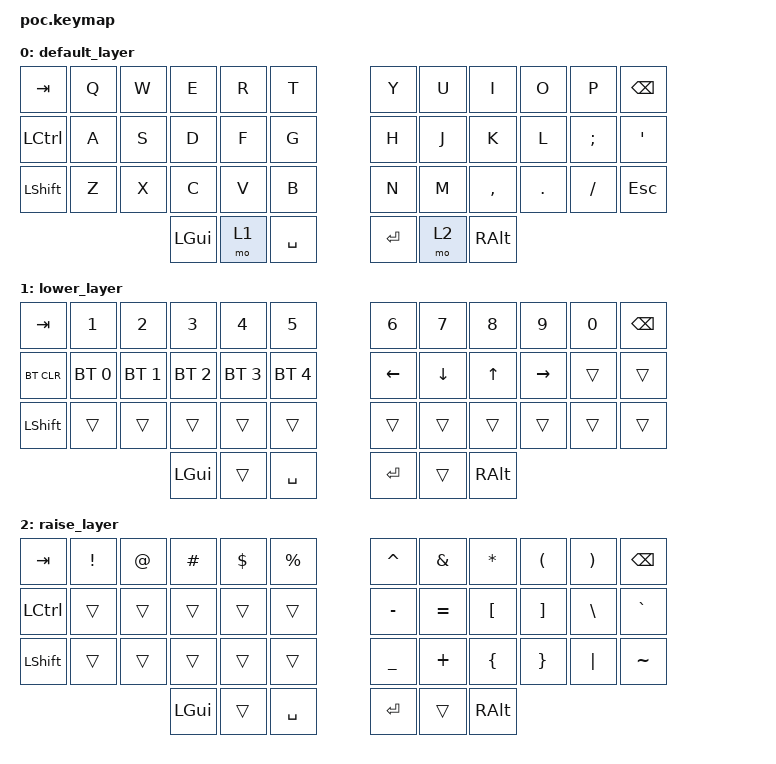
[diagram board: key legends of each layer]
/*
 * Copyright (c) 2020 The ZMK Contributors
 *
 * SPDX-License-Identifier: MIT
 */

#include <behaviors.dtsi>
#include <dt-bindings/zmk/keys.h>
#include <dt-bindings/zmk/bt.h>

/ {
        keymap {
                compatible = "zmk,keymap";

                default_layer {
// -----------------------------------------------------------------------------------------
// |  TAB |  Q  |  W  |  E  |  R   |  T   |    |  Y  |  U   |  I  |  O  |  P  | \ |
// | ESC  |  A  |  S  |  D  |  F   |  G   |    |  H  |  J   |  K  |  L  |  ;  |  '   |
// | LGUI |  Z  |  X  |  C  |  V   |  B   |    |  N  |  M   |  ,  |  .  |  /  | LGUI  |
//                    | LWR | SHFT | BSPC |    | ENT | SPC  | RSE |
// Special:
// Z is LALT and X is LCTRL
// ; is LALT and L is LCTRL
// W+E is <
// I+O is >
// R+T is [
// U+I is ]
// D+F is (
// J+K is )
// C+V is {
// M+COMMA is }

// Tapping Term is 130ms
// Prefer tap action in Tap-Hold tap dances
// Permissive hold is ON
                        bindings = <
   &kp TAB   &kp Q &kp W &kp E &kp R &kp T   &kp Y &kp U  &kp I     &kp O   &kp P    &kp BSPC
   &kp LCTRL &kp A &kp S &kp D &kp F &kp G   &kp H &kp J  &kp K     &kp L   &kp SEMI &kp SQT
   &kp LSHFT &kp Z &kp X &kp C &kp V &kp B   &kp N &kp M  &kp COMMA &kp DOT &kp FSLH &kp ESC
                  &kp LGUI &mo 1 &kp SPACE   &kp RET &mo 2 &kp RALT
                        >;
                };
                lower_layer {
// -----------------------------------------------------------------------------------------
// | TAB  |  !  |   :   |  #  |  ;   |   ?  |   |  @  |  7  |  8  |  9  |  %  |      |
// | ESC  |  ^  |   =   |  _  |  $   |   *  |   |  +  |  4  |  5  |  6  |  `  |      |
// | LGUI |  <  |  "|"  |  -  |  >   |   /  |   |  &  |  1  |  2  |  3  |  ~  |      |
//                      |     | SHFT | BSPC |   | ENT | SPC | FUN |
                        bindings = <
   &kp TAB    &kp N1       &kp N2       &kp N3       &kp N4       &kp N5         &kp N6   &kp N7   &kp N8 &kp N9    &kp N0 &kp BSPC
   &bt BT_CLR &bt BT_SEL 0 &bt BT_SEL 1 &bt BT_SEL 2 &bt BT_SEL 3 &bt BT_SEL 4   &kp LEFT &kp DOWN &kp UP &kp RIGHT &trans &trans
   &kp LSHFT  &trans       &trans       &trans       &trans       &trans         &trans   &trans   &trans &trans    &trans &trans
                                    &kp LGUI     &trans       &kp SPACE      &kp RET  &trans   &kp RALT
                        >;
                };

                raise_layer {
// -----------------------------------------------------------------------------------------
// |  TAB |      | MUTE | VOLDOWN | VOLUP |      |     | HOME | PGDN | PDUP |   END  |    |  |
// |  ESC | PREV | NEXT |    STOP |  PLAY |      |     | LEFT | DOWN |   UP | RIGHT  |    |  |
// | LGUI |      |      |         |       |      |     |      |      |      |        |    |  |
//                      |         |  SHFT | BSPC |     | ENT |  SPC  |      |
                        bindings = <
   &kp  TAB  &kp EXCL &kp AT &kp HASH &kp DLLR &kp PRCNT   &kp CARET &kp AMPS  &kp ASTRK &kp LPAR &kp RPAR &kp BSPC
   &kp LCTRL &trans   &trans &trans   &trans   &trans      &kp MINUS &kp EQUAL &kp LBKT  &kp RBKT &kp BSLH &kp GRAVE
   &kp LSHFT &trans   &trans &trans   &trans   &trans      &kp UNDER &kp PLUS  &kp LBRC  &kp RBRC &kp PIPE &kp TILDE
                             &kp LGUI &trans   &kp SPACE   &kp RET   &trans    &kp RALT
                        >;
                };
        };
};

                fun_layer {
// -----------------------------------------------------------------------------------------
// | TAB  |  RIGHTCLICK |  MOUSEUP   |  LEFTCLICK |      |      |      |       |  F7  |  F8  |  F9  |     |      |
// | ESC  |   MOUSELEFT |  MOUSEDOWN | MOUSERIGHT |      |      |      |  F12  |  F4  |  F5  |  F6  |  `  |      |
// | LGUI |             |            |            |      |      |      |  F11  |  F1  |  F2  |  F3  |  ~  |      |
//                      |            |            | SHFT | BSPC |      | ENT   | F10  |      |
                        bindings = <
   &kp TAB    &kp N1       &kp N2       &kp N3       &kp N4       &kp N5         &kp N6   &kp N7   &kp N8 &kp N9    &kp N0 &kp BSPC
   &bt BT_CLR &bt BT_SEL 0 &bt BT_SEL 1 &bt BT_SEL 2 &bt BT_SEL 3 &bt BT_SEL 4   &kp LEFT &kp DOWN &kp UP &kp RIGHT &trans &trans
   &kp LSHFT  &trans       &trans       &trans       &trans       &trans         &trans   &trans   &trans &trans    &trans &trans
                                    &kp LGUI     &trans       &kp SPACE      &kp RET  &trans   &kp RALT
                        >;
                };


